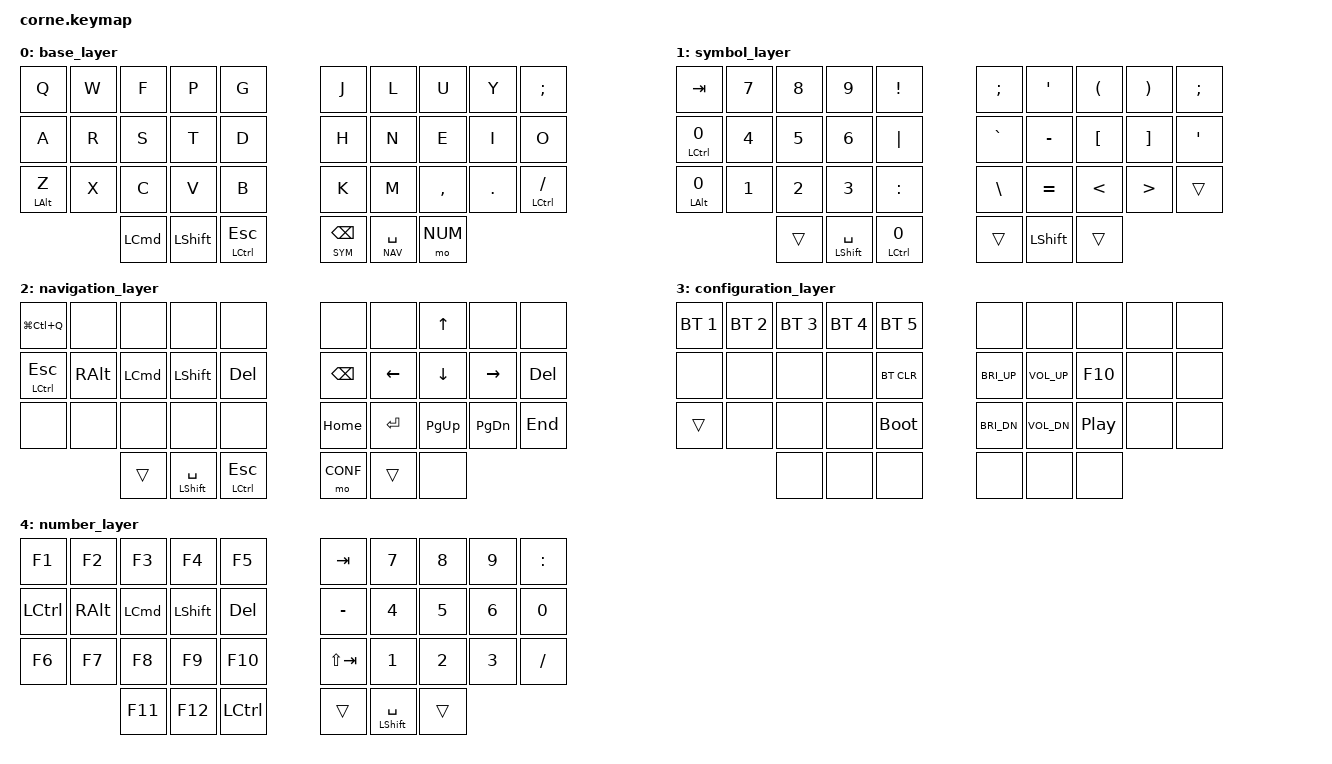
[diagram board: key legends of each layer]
/*
 * Copyright (c) 2020 The ZMK Contributors
 *
 * SPDX-License-Identifier: MIT
 */

#include <behaviors.dtsi>
#include <dt-bindings/zmk/keys.h>
#include <dt-bindings/zmk/bt.h>

// Layers
#define BASE 0
#define SYM 1
#define NAV 2
#define CONF 3
#define NUM 4

// Custom
#define MAC_LOCK LG(LC(Q))
#define MAC_MUTE F10

&mt {
    flavor = "tap-preferred";
    tapping_term_ms = <200>;
    quick-tap-ms = <150>;
};

&lt {
    flavor = "tap-preferred";
    tapping_term_ms = <200>;
    quick-tap-ms = <150>;
};

/ {

    chosen {
        zmk,matrix_transform = &five_column_transform;
    };

    combos {
        compatible = "zmk,combos";
        // shifted number row
        combo_exclam {
            timeout-ms = <50>;
            key-positions = <0 10>;
            layers = <BASE SYM NUM>;
            bindings = <&kp EXCL>;
        };
        combo_at {
            timeout-ms = <50>;
            key-positions = <1 11>;
            layers = <BASE SYM NUM>;
            bindings = <&kp AT>;
        };
        combo_hash {
            timeout-ms = <50>;
            key-positions = <2 12>;
            layers = <BASE SYM NUM>;
            bindings = <&kp HASH>;
        };
        combo_dollar {
            timeout-ms = <50>;
            key-positions = <3 13>;
            layers = <BASE SYM NUM>;
            bindings = <&kp DLLR>;
        };
        combo_perc {
            timeout-ms = <50>;
            key-positions = <4 14>;
            layers = <BASE SYM NUM>;
            bindings = <&kp PRCNT>;
        };
        combo_caret {
            timeout-ms = <50>;
            key-positions = <5 15>;
            layers = <BASE SYM NUM>;
            bindings = <&kp CARET>;
        };
        combo_amps {
            timeout-ms = <50>;
            key-positions = <6 16>;
            layers = <BASE SYM NUM>;
            bindings = <&kp AMPS>;
        };
        combo_astrk {
            timeout-ms = <50>;
            key-positions = <7 17>;
            layers = <BASE SYM NUM>;
            bindings = <&kp ASTRK>;
        };
        combo_lparen {
            timeout-ms = <50>;
            key-positions = <8 18>;
            layers = <BASE SYM NUM>;
            bindings = <&kp LPAR>;
        };
        combo_rparen {
            timeout-ms = <50>;
            key-positions = <9 19>;
            layers = <BASE SYM NUM>;
            bindings = <&kp RPAR>;
        };
        // additional symbols
        combo_l_grave {
            timeout-ms = <50>;
            key-positions = <0 1>;
            layers = <BASE SYM NUM>;
            bindings = <&kp GRAVE>;
        };
        combo_l_0 {
            timeout-ms = <50>;
            key-positions = <10 20>;
            layers = <BASE>;
            bindings = <&kp N0>;
        };
        combo_l_1 {
            timeout-ms = <50>;
            key-positions = <11 21>;
            layers = <BASE>;
            bindings = <&kp N1>;
        };
        combo_l_2 {
            timeout-ms = <50>;
            key-positions = <12 22>;
            layers = <BASE>;
            bindings = <&kp N2>;
        };
        combo_l_3 {
            timeout-ms = <50>;
            key-positions = <13 23>;
            layers = <BASE>;
            bindings = <&kp N3>;
        };
        combo_l_9 {
            timeout-ms = <50>;
            key-positions = <14 24>;
            layers = <BASE>;
            bindings = <&kp N9>;
        };
        combo_r_underscore {
            timeout-ms = <20>;
            key-positions = <6 7>;
            layers = <BASE SYM NUM>;
            bindings = <&kp UNDER>;
        };
        combo_r_exclam {
            timeout-ms = <20>;
            key-positions = <7 8>;
            layers = <BASE SYM NUM>;
            bindings = <&kp EXCL>;
        };
        combo_r_colon {
            timeout-ms = <20>;
            key-positions = <8 9>;
            layers = <BASE SYM NUM>;
            bindings = <&kp COLON>;
        };
        combo_r_plus_h {
            timeout-ms = <20>;
            key-positions = <15 16>;
            layers = <BASE SYM NUM>;
            bindings = <&kp PLUS>;
        };
        combo_r_minus_h {
            timeout-ms = <20>;
            key-positions = <16 17>;
            layers = <BASE SYM NUM>;
            bindings = <&kp MINUS>;
        };
        combo_r_equal_h {
            timeout-ms = <20>;
            key-positions = <17 18>;
            layers = <BASE SYM NUM>;
            bindings = <&kp EQUAL>;
        };
        combo_r_double_quote {
            timeout-ms = <20>;
            key-positions = <18 19>;
            layers = <BASE SYM NUM>;
            bindings = <&kp DQT>;
        };
        combo_r_lbrc {
            timeout-ms = <20>;
            key-positions = <27 18>;
            layers = <BASE SYM NUM>;
            bindings = <&kp LBRC>;
        };
        combo_r_rbrc {
            timeout-ms = <20>;
            key-positions = <17 28>;
            layers = <BASE SYM NUM>;
            bindings = <&kp RBRC>;
        };
        combo_r_tilde {
            timeout-ms = <20>;
            key-positions = <27 28>;
            layers = <BASE SYM NUM>;
            bindings = <&kp TILDE>;
        };
        combo_r_qmark {
            timeout-ms = <20>;
            key-positions = <28 29>;
            layers = <BASE SYM NUM>;
            bindings = <&kp QMARK>;
        };
        combo_r_bslh {
            timeout-ms = <20>;
            key-positions = <15 25>;
            layers = <BASE SYM NUM>;
            bindings = <&kp BSLH>;
        };
        combo_r_pipe {
            timeout-ms = <50>;
            key-positions = <16 26>;
            layers = <BASE SYM NUM>;
            bindings = <&kp PIPE>;
        };
        // misc modifiers and whitespace
        combo_l_del {
            timeout-ms = <50>;
            key-positions = <3 4>;
            layers = <BASE SYM NUM>;
            bindings = <&kp DEL>;
        };
        combo_r_del {
            timeout-ms = <50>;
            key-positions = <5 6>;
            layers = <BASE SYM NUM>;
            bindings = <&kp DEL>;
        };
        combo_l_bksp {
            timeout-ms = <50>;
            key-positions = <13 14>;
            layers = <BASE SYM NUM>;
            bindings = <&kp BSPC>;
        };
        combo_l_cmd_tab {
            timeout-ms = <25>;
            key-positions = <20 21>;
            layers = <BASE>;
            bindings = <&kp LG(TAB)>;
        };
        combo_l_shift_tab {
            timeout-ms = <50>;
            key-positions = <21 22>;
            layers = <BASE SYM NUM>;
            bindings = <&kp LS(TAB)>;
        };
        combo_l_tab {
            timeout-ms = <50>;
            key-positions = <22 23>;
            layers = <BASE SYM NUM>;
            bindings = <&kp TAB>;
        };
        combo_l_ent {
            timeout-ms = <50>;
            key-positions = <23 24>;
            layers = <BASE SYM NUM>;
            bindings = <&kp RET>;
        };
        combo_r_ent {
            timeout-ms = <60>;
            key-positions = <26 27>;
            layers = <BASE SYM NUM>;
            bindings = <&kp RET>;
        };
    };

    behaviors {
        mth: mod_tap_hold_preferred {
            compatible = "zmk,behavior-hold-tap";
            label = "MOD_TAP_HOLD_PREF";
            #binding-cells = <2>;
            flavor = "hold-preferred";
            tapping-term-ms = <400>;
            quick-tap-ms = <200>;
            bindings = <&kp>, <&kp>;
        };
        lth: layer_tap_hold_preferred {
            compatible = "zmk,behavior-hold-tap";
            label = "LAYER_TAP_HOLD_PREF";
            #binding-cells = <2>;
            flavor = "hold-preferred";
            tapping-term-ms = <400>;
            quick-tap-ms = <200>;
            bindings = <&mo>, <&kp>;
        };
    };

    keymap {
        compatible = "zmk,keymap";

        base_layer {
            bindings = <
&kp Q        &kp W  &kp F  &kp P  &kp G    &kp J  &kp L  &kp U      &kp Y    &kp SEMI      
&kp A        &kp R  &kp S  &kp T  &kp D    &kp H  &kp N  &kp E      &kp I    &kp O        
&mt LALT Z   &kp X  &kp C  &kp V  &kp B    &kp K  &kp M  &kp COMMA  &kp DOT  &mt LCTRL SLASH

&kp LCMD  &kp LSHFT  &mth LCTRL ESC        &lth SYM BSPC  &lt NAV SPACE  &mo NUM
            >;
        };

        symbol_layer {
            bindings = <
&kp TAB       &kp N7  &kp N8  &kp N9  &kp EXCL     &kp SEMI   &kp SQT    &kp LPAR  &kp RPAR  &kp SEMI
&mt LCTRL N0  &kp N4  &kp N5  &kp N6  &kp PIPE     &kp GRAVE  &kp MINUS  &kp LBKT  &kp RBKT  &kp SQT
&mt LALT N0   &kp N1  &kp N2  &kp N3  &kp COLON    &kp BSLH   &kp EQUAL  &kp LT    &kp GT    &trans

&trans  &mt LSHFT SPACE  &mth LCTRL N0             &trans  &kp LSHFT  &trans
            >;
        };

        navigation_layer {
            bindings = <
&kp MAC_LOCK   &none     &none     &none      &none      &none     &none     &kp UP     &none      &none
&mt LCTRL ESC  &kp RALT  &kp LCMD  &kp LSHFT  &kp DEL    &kp BSPC  &kp LEFT  &kp DOWN   &kp RIGHT  &kp DEL
&none          &none     &none     &none      &none      &kp HOME  &kp RET   &kp PG_UP  &kp PG_DN  &kp END

&trans  &mt LSHFT SPACE  &mth LCTRL ESC                  &mo CONF  &trans  &none
            >;
        };

        configuration_layer {
            bindings = <
&bt BT_SEL 1   &bt BT_SEL 2  &bt BT_SEL 3  &bt BT_SEL 4  &bt BT_SEL 5    &none         &none         &none         &none  &none
&none          &none         &none         &none         &bt BT_CLR      &kp C_BRI_UP  &kp C_VOL_UP  &kp MAC_MUTE  &none  &none
&trans         &none         &none         &none         &bootloader     &kp C_BRI_DN  &kp C_VOL_DN  &kp C_PP      &none  &none

&none  &none  &none                                                      &none  &none  &none
            >;

        };

        number_layer {
            bindings = <
&kp F1     &kp F2    &kp F3    &kp F4     &kp F5     &kp TAB      &kp N7  &kp N8  &kp N9  &kp COLON
&kp LCTRL  &kp RALT  &kp LCMD  &kp LSHFT  &kp DEL    &kp MINUS    &kp N4  &kp N5  &kp N6  &kp N0   
&kp F6     &kp F7    &kp F8    &kp F9     &kp F10    &kp LS(TAB)  &kp N1  &kp N2  &kp N3  &kp SLASH

&kp F11  &kp F12  &kp LCTRL                         &trans  &mt LSHFT SPACE  &trans
            >;
        };

    };
};
